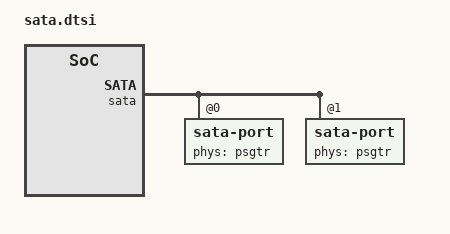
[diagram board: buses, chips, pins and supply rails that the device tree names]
&sata {
    #address-cells = <0x1>;
    #size-cells = <0x0>;

    ceva,p0-burst-params = <0x13084a06>;
    ceva,p0-cominit-params = <0x18401828>;
    ceva,p0-comwake-params = <0x614080e>;
    ceva,p0-retry-params = <0x96a43ffc>;
    ceva,p1-burst-params = <0x13084a06>;
    ceva,p1-cominit-params = <0x18401828>;
    ceva,p1-comwake-params = <0x614080e>;
    ceva,p1-retry-params = <0x96a43ffc>;

    sata-port@0 {
        reg = <0>;
        phys = <&psgtr 0 1 0 0>;
        phy-names = "sata-phy-0";
    };

    sata-port@1 {
        reg = <1>;
        phys = <&psgtr 1 1 1 0>;
        phy-names = "sata-phy-1";
    };
};
